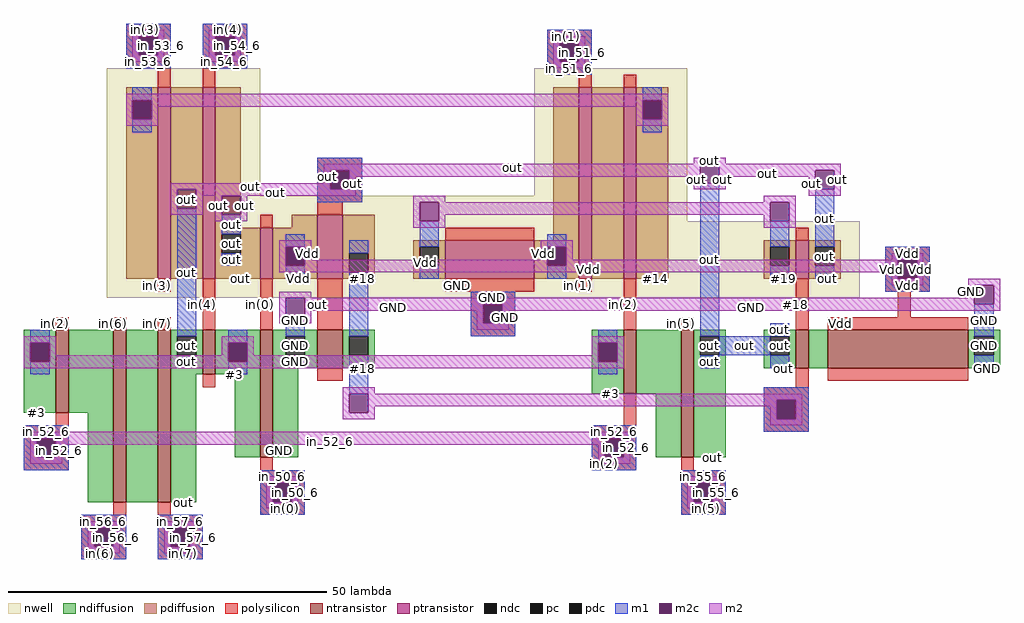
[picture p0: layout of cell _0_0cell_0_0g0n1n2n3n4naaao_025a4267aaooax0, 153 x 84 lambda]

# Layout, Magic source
magic
tech sky130l
<< nwell >>
rect 21 61 45 81
rect 88 61 112 81
rect 21 57 112 61
rect 21 45 139 57
<< ndiffusion >>
rect 8 38 13 40
rect 8 35 9 38
rect 12 35 13 38
rect 8 27 13 35
rect 15 27 22 40
rect 18 13 22 27
rect 24 13 29 40
rect 31 39 36 40
rect 31 36 32 39
rect 35 36 36 39
rect 31 33 36 36
rect 38 38 45 40
rect 38 35 40 38
rect 43 35 45 38
rect 38 33 45 35
rect 31 13 35 33
rect 41 20 45 33
rect 47 39 54 40
rect 47 36 49 39
rect 52 36 54 39
rect 47 34 54 36
rect 58 39 63 40
rect 58 36 59 39
rect 62 36 63 39
rect 58 34 63 36
rect 97 38 102 40
rect 97 35 98 38
rect 101 35 102 38
rect 47 20 51 34
rect 97 30 102 35
rect 104 30 111 40
rect 107 20 111 30
rect 113 39 118 40
rect 113 36 114 39
rect 117 36 118 39
rect 113 20 118 36
rect 124 39 129 40
rect 124 36 125 39
rect 128 36 129 39
rect 124 34 129 36
rect 131 34 134 40
rect 156 39 161 40
rect 156 36 157 39
rect 160 36 161 39
rect 156 34 161 36
<< ndc >>
rect 9 35 12 38
rect 32 36 35 39
rect 40 35 43 38
rect 49 36 52 39
rect 59 36 62 39
rect 98 35 101 38
rect 114 36 117 39
rect 125 36 128 39
rect 157 36 160 39
<< ntransistor >>
rect 13 27 15 40
rect 22 13 24 40
rect 29 13 31 40
rect 36 33 38 40
rect 45 20 47 40
rect 54 34 58 40
rect 102 30 104 40
rect 111 20 113 40
rect 129 34 131 40
rect 134 34 156 40
<< pdiffusion >>
rect 24 76 29 78
rect 24 73 25 76
rect 28 73 29 76
rect 24 48 29 73
rect 31 48 36 78
rect 38 56 42 78
rect 50 56 54 58
rect 38 55 45 56
rect 38 52 39 55
rect 42 52 45 55
rect 38 48 45 52
rect 47 53 54 56
rect 47 50 49 53
rect 52 50 54 53
rect 47 48 54 50
rect 58 52 63 58
rect 91 54 95 78
rect 58 49 59 52
rect 62 49 63 52
rect 58 48 63 49
rect 69 53 74 54
rect 69 50 70 53
rect 73 50 74 53
rect 69 48 74 50
rect 88 53 95 54
rect 88 50 90 53
rect 93 50 95 53
rect 88 48 95 50
rect 97 48 102 78
rect 104 76 109 78
rect 104 73 105 76
rect 108 73 109 76
rect 104 48 109 73
rect 124 53 129 54
rect 124 50 125 53
rect 128 50 129 53
rect 124 48 129 50
rect 131 53 136 54
rect 131 50 132 53
rect 135 50 136 53
rect 131 48 136 50
<< pdc >>
rect 25 73 28 76
rect 39 52 42 55
rect 49 50 52 53
rect 59 49 62 52
rect 70 50 73 53
rect 90 50 93 53
rect 105 73 108 76
rect 125 50 128 53
rect 132 50 135 53
<< ptransistor >>
rect 29 48 31 78
rect 36 48 38 78
rect 45 48 47 56
rect 54 48 58 58
rect 74 48 88 54
rect 95 48 97 78
rect 102 48 104 78
rect 129 48 131 54
<< polysilicon >>
rect 24 86 31 88
rect 24 83 26 86
rect 29 83 31 86
rect 24 81 31 83
rect 29 78 31 81
rect 36 86 43 88
rect 36 83 38 86
rect 41 83 43 86
rect 36 81 43 83
rect 90 85 97 87
rect 90 82 92 85
rect 95 82 97 85
rect 36 78 38 81
rect 90 80 97 82
rect 95 78 97 80
rect 102 78 104 80
rect 54 65 61 67
rect 54 62 56 65
rect 59 62 61 65
rect 54 60 61 62
rect 54 58 58 60
rect 45 56 47 58
rect 74 54 88 56
rect 129 54 131 56
rect 143 51 150 53
rect 143 48 145 51
rect 148 48 150 51
rect 29 46 31 48
rect 13 40 15 42
rect 22 40 24 42
rect 29 40 31 42
rect 36 40 38 48
rect 45 40 47 48
rect 54 40 58 48
rect 74 46 88 48
rect 95 46 97 48
rect 78 44 85 46
rect 78 41 80 44
rect 83 41 85 44
rect 13 25 15 27
rect 8 23 15 25
rect 8 20 10 23
rect 13 20 15 23
rect 8 18 15 20
rect 36 31 38 33
rect 78 39 85 41
rect 102 40 104 48
rect 111 40 113 42
rect 129 40 131 48
rect 143 46 150 48
rect 145 42 147 46
rect 134 40 156 42
rect 54 32 58 34
rect 102 25 104 30
rect 97 23 104 25
rect 97 20 99 23
rect 102 20 104 23
rect 129 31 131 34
rect 134 32 156 34
rect 124 29 131 31
rect 124 26 126 29
rect 129 26 131 29
rect 124 24 131 26
rect 45 18 47 20
rect 97 18 104 20
rect 111 18 113 20
rect 45 16 52 18
rect 45 13 47 16
rect 50 13 52 16
rect 22 11 24 13
rect 17 9 24 11
rect 17 6 19 9
rect 22 6 24 9
rect 17 4 24 6
rect 29 11 31 13
rect 45 11 52 13
rect 111 16 118 18
rect 111 13 113 16
rect 116 13 118 16
rect 111 11 118 13
rect 29 9 36 11
rect 29 6 31 9
rect 34 6 36 9
rect 29 4 36 6
<< pc >>
rect 26 83 29 86
rect 38 83 41 86
rect 92 82 95 85
rect 56 62 59 65
rect 145 48 148 51
rect 80 41 83 44
rect 10 20 13 23
rect 99 20 102 23
rect 126 26 129 29
rect 47 13 50 16
rect 19 6 22 9
rect 113 13 116 16
rect 31 6 34 9
<< m1 >>
rect 24 86 31 88
rect 24 83 26 86
rect 29 83 31 86
rect 24 81 31 83
rect 36 86 43 88
rect 36 83 38 86
rect 41 83 43 86
rect 36 81 43 83
rect 90 85 97 87
rect 90 82 92 85
rect 95 82 97 85
rect 90 80 97 82
rect 25 76 28 78
rect 25 71 28 73
rect 105 76 108 78
rect 105 71 108 73
rect 54 65 61 67
rect 54 62 56 65
rect 59 62 61 65
rect 9 38 12 40
rect 9 33 12 35
rect 32 39 35 59
rect 54 60 61 62
rect 39 55 42 58
rect 39 50 42 52
rect 49 53 52 55
rect 49 48 52 50
rect 59 52 62 54
rect 32 34 35 36
rect 40 38 43 40
rect 40 33 43 35
rect 49 39 52 42
rect 49 34 52 36
rect 59 39 62 49
rect 70 53 73 57
rect 70 48 73 50
rect 90 53 93 55
rect 90 48 93 50
rect 78 44 85 46
rect 78 41 80 44
rect 83 41 85 44
rect 78 39 85 41
rect 59 30 62 36
rect 98 38 101 40
rect 98 33 101 35
rect 114 39 117 63
rect 125 53 128 57
rect 125 48 128 50
rect 132 53 135 62
rect 132 48 135 50
rect 143 51 150 53
rect 143 48 145 51
rect 148 48 150 51
rect 143 46 150 48
rect 125 39 128 41
rect 117 36 125 39
rect 114 34 117 36
rect 125 34 128 36
rect 157 39 160 44
rect 157 34 160 36
rect 124 29 131 31
rect 124 26 126 29
rect 129 26 131 29
rect 8 23 15 25
rect 8 20 10 23
rect 13 20 15 23
rect 8 18 15 20
rect 97 23 104 25
rect 124 24 131 26
rect 97 20 99 23
rect 102 20 104 23
rect 97 18 104 20
rect 45 16 52 18
rect 45 13 47 16
rect 50 13 52 16
rect 45 11 52 13
rect 111 16 118 18
rect 111 13 113 16
rect 116 13 118 16
rect 111 11 118 13
rect 17 9 24 11
rect 17 6 19 9
rect 22 6 24 9
rect 17 4 24 6
rect 29 9 36 11
rect 29 6 31 9
rect 34 6 36 9
rect 29 4 36 6
<< m2c >>
rect 26 83 29 86
rect 38 83 41 86
rect 92 82 95 85
rect 25 73 28 76
rect 105 73 108 76
rect 56 62 59 65
rect 32 59 35 62
rect 9 35 12 38
rect 39 58 42 61
rect 114 63 117 66
rect 70 57 73 60
rect 49 50 52 53
rect 49 42 52 45
rect 40 35 43 38
rect 90 50 93 53
rect 80 41 83 44
rect 98 35 101 38
rect 132 62 135 65
rect 125 57 128 60
rect 145 48 148 51
rect 157 44 160 47
rect 59 27 62 30
rect 126 26 129 29
rect 10 20 13 23
rect 99 20 102 23
rect 47 13 50 16
rect 113 13 116 16
rect 19 6 22 9
rect 31 6 34 9
<< m2 >>
rect 25 86 30 87
rect 25 83 26 86
rect 29 83 30 86
rect 25 82 30 83
rect 37 86 42 87
rect 37 83 38 86
rect 41 83 42 86
rect 37 82 42 83
rect 91 85 96 86
rect 91 82 92 85
rect 95 82 96 85
rect 91 81 96 82
rect 24 76 109 77
rect 24 73 25 76
rect 28 75 105 76
rect 28 73 29 75
rect 24 72 29 73
rect 104 73 105 75
rect 108 73 109 76
rect 104 72 109 73
rect 113 66 118 67
rect 55 65 114 66
rect 55 63 56 65
rect 31 62 56 63
rect 59 64 114 65
rect 59 62 60 64
rect 113 63 114 64
rect 117 65 136 66
rect 117 64 132 65
rect 117 63 118 64
rect 113 62 118 63
rect 131 62 132 64
rect 135 62 136 65
rect 31 59 32 62
rect 35 61 60 62
rect 131 61 136 62
rect 35 59 36 61
rect 31 58 36 59
rect 38 58 39 61
rect 42 58 43 61
rect 38 57 43 58
rect 69 60 74 61
rect 124 60 129 61
rect 69 57 70 60
rect 73 58 125 60
rect 73 57 74 58
rect 69 56 74 57
rect 124 57 125 58
rect 128 57 129 60
rect 124 56 129 57
rect 48 53 53 54
rect 48 50 49 53
rect 52 51 53 53
rect 89 53 94 54
rect 89 51 90 53
rect 52 50 90 51
rect 93 51 94 53
rect 144 51 149 52
rect 93 50 145 51
rect 48 49 145 50
rect 144 48 145 49
rect 148 48 149 51
rect 144 47 149 48
rect 156 47 161 48
rect 48 45 53 46
rect 156 45 157 47
rect 48 42 49 45
rect 52 44 157 45
rect 160 44 161 47
rect 52 43 80 44
rect 52 42 53 43
rect 48 41 53 42
rect 79 41 80 43
rect 83 43 161 44
rect 83 41 84 43
rect 79 40 84 41
rect 8 38 13 39
rect 8 35 9 38
rect 12 36 13 38
rect 39 38 44 39
rect 39 36 40 38
rect 12 35 40 36
rect 43 36 44 38
rect 97 38 102 39
rect 97 36 98 38
rect 43 35 98 36
rect 101 35 102 38
rect 8 34 102 35
rect 58 30 63 31
rect 58 27 59 30
rect 62 29 130 30
rect 62 28 126 29
rect 62 27 63 28
rect 58 26 63 27
rect 125 26 126 28
rect 129 26 130 29
rect 125 25 130 26
rect 9 23 103 24
rect 9 20 10 23
rect 13 22 99 23
rect 13 20 14 22
rect 9 19 14 20
rect 98 20 99 22
rect 102 20 103 23
rect 98 19 103 20
rect 46 16 51 17
rect 46 13 47 16
rect 50 13 51 16
rect 46 12 51 13
rect 112 16 117 17
rect 112 13 113 16
rect 116 13 117 16
rect 112 12 117 13
rect 18 9 23 10
rect 18 6 19 9
rect 22 6 23 9
rect 18 5 23 6
rect 30 9 35 10
rect 30 6 31 9
rect 34 6 35 9
rect 30 5 35 6
<< labels >>
flabel polysilicon 13 41 13 41 3 FreeSerif 8 0 0 0 in(2)
flabel polysilicon 22 41 22 41 3 FreeSerif 8 0 0 0 in(6)
flabel polysilicon 29 41 29 41 3 FreeSerif 8 0 0 0 in(7)
flabel polysilicon 29 47 29 47 3 FreeSerif 8 0 0 0 in(3)
flabel polysilicon 36 44 36 44 3 FreeSerif 8 0 0 0 in(4)
flabel polysilicon 45 44 45 44 3 FreeSerif 8 0 0 0 in(0)
flabel polysilicon 54 44 54 44 3 FreeSerif 8 0 0 0 out
flabel polysilicon 76 47 76 47 3 FreeSerif 8 0 0 0 GND
flabel polysilicon 95 47 95 47 3 FreeSerif 8 0 0 0 in(1)
flabel polysilicon 102 44 102 44 3 FreeSerif 8 0 0 0 in(2)
flabel polysilicon 111 41 111 41 3 FreeSerif 8 0 0 0 in(5)
flabel polysilicon 129 44 129 44 3 FreeSerif 8 0 0 0 #18
flabel polysilicon 136 41 136 41 3 FreeSerif 8 0 0 0 Vdd
flabel pdiffusion 27 48 27 48 1 FreeSerif 8 0 0 0 #14
flabel pdiffusion 42 48 42 48 1 FreeSerif 8 0 0 0 out
flabel pdiffusion 51 48 51 48 1 FreeSerif 8 0 0 0 Vdd
flabel pdiffusion 61 48 61 48 1 FreeSerif 8 0 0 0 #18
flabel pdiffusion 72 48 72 48 1 FreeSerif 8 0 0 0 #19
flabel pdiffusion 92 48 92 48 1 FreeSerif 8 0 0 0 Vdd
flabel pdiffusion 107 48 107 48 1 FreeSerif 8 0 0 0 #14
flabel pdiffusion 127 48 127 48 1 FreeSerif 8 0 0 0 #19
flabel pdiffusion 134 48 134 48 1 FreeSerif 8 0 0 0 out
flabel ndiffusion 127 34 127 34 1 FreeSerif 8 0 0 0 out
flabel ndiffusion 159 34 159 34 1 FreeSerif 8 0 0 0 GND
flabel ndiffusion 100 30 100 30 1 FreeSerif 8 0 0 0 #3
flabel ndiffusion 116 20 116 20 1 FreeSerif 8 0 0 0 out
flabel ndiffusion 61 34 61 34 1 FreeSerif 8 0 0 0 #18
flabel ndiffusion 48 21 48 21 3 FreeSerif 8 0 0 0 GND
flabel ndiffusion 41 33 41 33 1 FreeSerif 8 0 0 0 #3
flabel ndiffusion 33 13 33 13 1 FreeSerif 8 0 0 0 out
flabel ndiffusion 10 27 10 27 1 FreeSerif 8 0 0 0 #3
flabel m2 s 156 45 157 47 5 FreeSerif 8 0 0 0 GND
port 1 nsew ground input
flabel m2 s 148 48 149 51 1 FreeSerif 8 0 0 0 Vdd
port 2 nsew power input
flabel m2 33 5 33 5 5 FreeSerif 8 0 0 0 in(7)
port 3 s
flabel m2 20 5 20 5 5 FreeSerif 8 0 0 0 in(6)
port 4 s
flabel m2 115 12 115 12 5 FreeSerif 8 0 0 0 in(5)
port 5 s
flabel m2 40 87 40 87 1 FreeSerif 8 0 0 0 in(4)
port 6 n
flabel m2 27 87 27 87 1 FreeSerif 8 0 0 0 in(3)
port 7 n
flabel m2 99 19 99 19 5 FreeSerif 8 0 0 0 in(2)
port 8 s
flabel m2 93 86 93 86 1 FreeSerif 8 0 0 0 in(1)
port 9 n
flabel m2 s 135 62 136 65 1 FreeSerif 8 0 0 0 out
port 10 nsew signal output
flabel m2 49 12 49 12 5 FreeSerif 8 0 0 0 in(0)
port 11 s
rlabel m2 s 50 13 51 16 1 in_50_6
port 1 nsew signal input
rlabel m2 s 47 13 50 16 1 in_50_6
port 1 nsew signal input
rlabel m2 s 46 12 51 13 1 in_50_6
port 1 nsew signal input
rlabel m2 s 46 13 47 16 1 in_50_6
port 1 nsew signal input
rlabel m2 s 46 16 51 17 1 in_50_6
port 1 nsew signal input
rlabel m1 s 50 13 52 16 1 in_50_6
port 1 nsew signal input
rlabel m1 s 47 13 50 16 1 in_50_6
port 1 nsew signal input
rlabel m1 s 45 11 52 13 1 in_50_6
port 1 nsew signal input
rlabel m1 s 45 13 47 16 1 in_50_6
port 1 nsew signal input
rlabel m1 s 45 16 52 18 1 in_50_6
port 1 nsew signal input
rlabel m2 s 91 85 96 86 5 in_51_6
port 2 nsew signal input
rlabel m2 s 95 82 96 85 5 in_51_6
port 2 nsew signal input
rlabel m2 s 92 82 95 85 5 in_51_6
port 2 nsew signal input
rlabel m2 s 91 82 92 85 5 in_51_6
port 2 nsew signal input
rlabel m2 s 91 81 96 82 1 in_51_6
port 2 nsew signal input
rlabel m1 s 95 82 97 85 5 in_51_6
port 2 nsew signal input
rlabel m1 s 92 82 95 85 5 in_51_6
port 2 nsew signal input
rlabel m1 s 90 80 97 82 1 in_51_6
port 2 nsew signal input
rlabel m1 s 90 82 92 85 5 in_51_6
port 2 nsew signal input
rlabel m1 s 90 85 97 87 5 in_51_6
port 2 nsew signal input
rlabel m2 s 102 20 103 23 1 in_52_6
port 3 nsew signal input
rlabel m2 s 99 20 102 23 1 in_52_6
port 3 nsew signal input
rlabel m2 s 98 19 103 20 1 in_52_6
port 3 nsew signal input
rlabel m2 s 98 20 99 22 1 in_52_6
port 3 nsew signal input
rlabel m2 s 13 20 14 22 3 in_52_6
port 3 nsew signal input
rlabel m2 s 13 22 99 23 1 in_52_6
port 3 nsew signal input
rlabel m2 s 10 20 13 23 3 in_52_6
port 3 nsew signal input
rlabel m2 s 9 19 14 20 3 in_52_6
port 3 nsew signal input
rlabel m2 s 9 20 10 23 3 in_52_6
port 3 nsew signal input
rlabel m2 s 9 23 103 24 1 in_52_6
port 3 nsew signal input
rlabel m1 s 97 18 104 20 1 in_52_6
port 3 nsew signal input
rlabel m1 s 102 20 104 23 1 in_52_6
port 3 nsew signal input
rlabel m1 s 99 20 102 23 1 in_52_6
port 3 nsew signal input
rlabel m1 s 97 20 99 23 1 in_52_6
port 3 nsew signal input
rlabel m1 s 97 23 104 25 1 in_52_6
port 3 nsew signal input
rlabel m1 s 13 20 15 23 1 in_52_6
port 3 nsew signal input
rlabel m1 s 10 20 13 23 3 in_52_6
port 3 nsew signal input
rlabel m1 s 8 18 15 20 3 in_52_6
port 3 nsew signal input
rlabel m1 s 8 20 10 23 3 in_52_6
port 3 nsew signal input
rlabel m1 s 8 23 15 25 3 in_52_6
port 3 nsew signal input
rlabel m2 s 29 83 30 86 5 in_53_6
port 4 nsew signal input
rlabel m2 s 26 83 29 86 5 in_53_6
port 4 nsew signal input
rlabel m2 s 25 82 30 83 1 in_53_6
port 4 nsew signal input
rlabel m2 s 25 83 26 86 5 in_53_6
port 4 nsew signal input
rlabel m2 s 25 86 30 87 5 in_53_6
port 4 nsew signal input
rlabel m1 s 29 83 31 86 5 in_53_6
port 4 nsew signal input
rlabel m1 s 26 83 29 86 5 in_53_6
port 4 nsew signal input
rlabel m1 s 24 81 31 83 1 in_53_6
port 4 nsew signal input
rlabel m1 s 24 83 26 86 5 in_53_6
port 4 nsew signal input
rlabel m1 s 24 86 31 88 5 in_53_6
port 4 nsew signal input
rlabel m2 s 41 83 42 86 5 in_54_6
port 5 nsew signal input
rlabel m2 s 38 83 41 86 5 in_54_6
port 5 nsew signal input
rlabel m2 s 37 83 38 86 5 in_54_6
port 5 nsew signal input
rlabel m2 s 37 82 42 83 1 in_54_6
port 5 nsew signal input
rlabel m2 s 37 86 42 87 5 in_54_6
port 5 nsew signal input
rlabel m1 s 41 83 43 86 5 in_54_6
port 5 nsew signal input
rlabel m1 s 38 83 41 86 5 in_54_6
port 5 nsew signal input
rlabel m1 s 36 81 43 83 1 in_54_6
port 5 nsew signal input
rlabel m1 s 36 83 38 86 5 in_54_6
port 5 nsew signal input
rlabel m1 s 36 86 43 88 5 in_54_6
port 5 nsew signal input
rlabel m2 s 116 13 117 16 1 in_55_6
port 6 nsew signal input
rlabel m2 s 113 13 116 16 1 in_55_6
port 6 nsew signal input
rlabel m2 s 112 12 117 13 1 in_55_6
port 6 nsew signal input
rlabel m2 s 112 13 113 16 1 in_55_6
port 6 nsew signal input
rlabel m2 s 112 16 117 17 1 in_55_6
port 6 nsew signal input
rlabel m1 s 116 13 118 16 1 in_55_6
port 6 nsew signal input
rlabel m1 s 113 13 116 16 1 in_55_6
port 6 nsew signal input
rlabel m1 s 111 13 113 16 1 in_55_6
port 6 nsew signal input
rlabel m1 s 111 16 118 18 1 in_55_6
port 6 nsew signal input
rlabel m1 s 111 11 118 13 1 in_55_6
port 6 nsew signal input
rlabel m2 s 22 6 23 9 1 in_56_6
port 7 nsew signal input
rlabel m2 s 19 6 22 9 1 in_56_6
port 7 nsew signal input
rlabel m2 s 18 5 23 6 1 in_56_6
port 7 nsew signal input
rlabel m2 s 18 6 19 9 1 in_56_6
port 7 nsew signal input
rlabel m2 s 18 9 23 10 1 in_56_6
port 7 nsew signal input
rlabel m1 s 22 6 24 9 1 in_56_6
port 7 nsew signal input
rlabel m1 s 19 6 22 9 1 in_56_6
port 7 nsew signal input
rlabel m1 s 17 4 24 6 1 in_56_6
port 7 nsew signal input
rlabel m1 s 17 6 19 9 1 in_56_6
port 7 nsew signal input
rlabel m1 s 17 9 24 11 1 in_56_6
port 7 nsew signal input
rlabel m2 s 34 6 35 9 1 in_57_6
port 8 nsew signal input
rlabel m2 s 31 6 34 9 1 in_57_6
port 8 nsew signal input
rlabel m2 s 30 5 35 6 1 in_57_6
port 8 nsew signal input
rlabel m2 s 30 6 31 9 1 in_57_6
port 8 nsew signal input
rlabel m2 s 30 9 35 10 1 in_57_6
port 8 nsew signal input
rlabel m1 s 34 6 36 9 1 in_57_6
port 8 nsew signal input
rlabel m1 s 31 6 34 9 1 in_57_6
port 8 nsew signal input
rlabel m1 s 29 6 31 9 1 in_57_6
port 8 nsew signal input
rlabel m1 s 29 4 36 6 1 in_57_6
port 8 nsew signal input
rlabel m1 s 29 9 36 11 1 in_57_6
port 8 nsew signal input
rlabel m2 s 132 62 135 65 1 out
port 10 nsew signal output
rlabel m2 s 131 61 136 62 1 out
port 10 nsew signal output
rlabel m2 s 131 62 132 64 1 out
port 10 nsew signal output
rlabel m2 s 117 63 118 64 1 out
port 10 nsew signal output
rlabel m2 s 117 64 132 65 1 out
port 10 nsew signal output
rlabel m2 s 117 65 136 66 1 out
port 10 nsew signal output
rlabel m2 s 114 63 117 66 1 out
port 10 nsew signal output
rlabel m2 s 113 62 118 63 1 out
port 10 nsew signal output
rlabel m2 s 113 63 114 64 1 out
port 10 nsew signal output
rlabel m2 s 113 66 118 67 1 out
port 10 nsew signal output
rlabel m2 s 55 63 56 65 1 out
port 10 nsew signal output
rlabel m2 s 55 65 114 66 1 out
port 10 nsew signal output
rlabel m2 s 42 58 43 61 1 out
port 10 nsew signal output
rlabel m2 s 38 57 43 58 1 out
port 10 nsew signal output
rlabel m2 s 39 58 42 61 1 out
port 10 nsew signal output
rlabel m2 s 38 58 39 61 1 out
port 10 nsew signal output
rlabel m2 s 35 59 36 61 1 out
port 10 nsew signal output
rlabel m2 s 35 61 60 62 1 out
port 10 nsew signal output
rlabel m2 s 59 62 60 64 1 out
port 10 nsew signal output
rlabel m2 s 59 64 114 65 1 out
port 10 nsew signal output
rlabel m2 s 32 59 35 62 1 out
port 10 nsew signal output
rlabel m2 s 56 62 59 65 1 out
port 10 nsew signal output
rlabel m2 s 31 58 36 59 1 out
port 10 nsew signal output
rlabel m2 s 31 59 32 62 1 out
port 10 nsew signal output
rlabel m2 s 31 62 56 63 1 out
port 10 nsew signal output
rlabel m1 s 132 48 135 50 1 out
port 10 nsew signal output
rlabel m1 s 132 50 135 53 1 out
port 10 nsew signal output
rlabel m1 s 132 53 135 62 1 out
port 10 nsew signal output
rlabel m1 s 132 62 135 65 1 out
port 10 nsew signal output
rlabel m1 s 125 36 128 39 1 out
port 10 nsew signal output
rlabel m1 s 125 39 128 41 1 out
port 10 nsew signal output
rlabel m1 s 117 36 125 39 1 out
port 10 nsew signal output
rlabel m1 s 125 34 128 36 1 out
port 10 nsew signal output
rlabel m1 s 114 36 117 39 1 out
port 10 nsew signal output
rlabel m1 s 114 39 117 63 1 out
port 10 nsew signal output
rlabel m1 s 114 63 117 66 1 out
port 10 nsew signal output
rlabel m1 s 59 62 61 65 1 out
port 10 nsew signal output
rlabel m1 s 114 34 117 36 1 out
port 10 nsew signal output
rlabel m1 s 56 62 59 65 1 out
port 10 nsew signal output
rlabel m1 s 39 50 42 52 1 out
port 10 nsew signal output
rlabel m1 s 39 52 42 55 1 out
port 10 nsew signal output
rlabel m1 s 39 55 42 58 1 out
port 10 nsew signal output
rlabel m1 s 39 58 42 61 1 out
port 10 nsew signal output
rlabel m1 s 54 60 61 62 1 out
port 10 nsew signal output
rlabel m1 s 54 62 56 65 1 out
port 10 nsew signal output
rlabel m1 s 54 65 61 67 1 out
port 10 nsew signal output
rlabel m1 s 32 36 35 39 1 out
port 10 nsew signal output
rlabel m1 s 32 39 35 59 1 out
port 10 nsew signal output
rlabel m1 s 32 59 35 62 1 out
port 10 nsew signal output
rlabel m1 s 32 34 35 36 1 out
port 10 nsew signal output
rlabel m2 s 145 48 148 51 1 Vdd
port 2 nsew power input
rlabel m2 s 144 47 149 48 1 Vdd
port 2 nsew power input
rlabel m2 s 144 48 145 49 1 Vdd
port 2 nsew power input
rlabel m2 s 144 51 149 52 1 Vdd
port 2 nsew power input
rlabel m2 s 89 51 90 53 1 Vdd
port 2 nsew power input
rlabel m2 s 89 53 94 54 1 Vdd
port 2 nsew power input
rlabel m2 s 93 50 145 51 1 Vdd
port 2 nsew power input
rlabel m2 s 93 51 94 53 1 Vdd
port 2 nsew power input
rlabel m2 s 90 50 93 53 1 Vdd
port 2 nsew power input
rlabel m2 s 52 50 90 51 1 Vdd
port 2 nsew power input
rlabel m2 s 52 51 53 53 1 Vdd
port 2 nsew power input
rlabel m2 s 49 50 52 53 1 Vdd
port 2 nsew power input
rlabel m2 s 48 49 145 50 1 Vdd
port 2 nsew power input
rlabel m2 s 48 50 49 53 1 Vdd
port 2 nsew power input
rlabel m2 s 48 53 53 54 1 Vdd
port 2 nsew power input
rlabel m1 s 148 48 150 51 1 Vdd
port 2 nsew power input
rlabel m1 s 145 48 148 51 1 Vdd
port 2 nsew power input
rlabel m1 s 143 48 145 51 1 Vdd
port 2 nsew power input
rlabel m1 s 143 51 150 53 1 Vdd
port 2 nsew power input
rlabel m1 s 143 46 150 48 1 Vdd
port 2 nsew power input
rlabel m1 s 90 48 93 50 1 Vdd
port 2 nsew power input
rlabel m1 s 90 50 93 53 1 Vdd
port 2 nsew power input
rlabel m1 s 90 53 93 55 1 Vdd
port 2 nsew power input
rlabel m1 s 49 48 52 50 1 Vdd
port 2 nsew power input
rlabel m1 s 49 50 52 53 1 Vdd
port 2 nsew power input
rlabel m1 s 49 53 52 55 1 Vdd
port 2 nsew power input
rlabel m2 s 156 47 161 48 7 GND
port 1 nsew ground input
rlabel m2 s 160 44 161 47 7 GND
port 1 nsew ground input
rlabel m2 s 83 41 84 43 1 GND
port 1 nsew ground input
rlabel m2 s 83 43 161 44 1 GND
port 1 nsew ground input
rlabel m2 s 157 44 160 47 7 GND
port 1 nsew ground input
rlabel m2 s 80 41 83 44 1 GND
port 1 nsew ground input
rlabel m2 s 52 42 53 43 1 GND
port 1 nsew ground input
rlabel m2 s 52 43 80 44 1 GND
port 1 nsew ground input
rlabel m2 s 52 44 157 45 1 GND
port 1 nsew ground input
rlabel m2 s 79 40 84 41 1 GND
port 1 nsew ground input
rlabel m2 s 79 41 80 43 1 GND
port 1 nsew ground input
rlabel m2 s 49 42 52 45 1 GND
port 1 nsew ground input
rlabel m2 s 48 41 53 42 1 GND
port 1 nsew ground input
rlabel m2 s 48 42 49 45 1 GND
port 1 nsew ground input
rlabel m2 s 48 45 53 46 1 GND
port 1 nsew ground input
rlabel m1 s 157 36 160 39 7 GND
port 1 nsew ground input
rlabel m1 s 157 39 160 44 7 GND
port 1 nsew ground input
rlabel m1 s 157 44 160 47 7 GND
port 1 nsew ground input
rlabel m1 s 83 41 85 44 1 GND
port 1 nsew ground input
rlabel m1 s 157 34 160 36 7 GND
port 1 nsew ground input
rlabel m1 s 80 41 83 44 1 GND
port 1 nsew ground input
rlabel m1 s 78 39 85 41 1 GND
port 1 nsew ground input
rlabel m1 s 78 41 80 44 1 GND
port 1 nsew ground input
rlabel m1 s 78 44 85 46 1 GND
port 1 nsew ground input
rlabel m1 s 49 34 52 36 1 GND
port 1 nsew ground input
rlabel m1 s 49 36 52 39 1 GND
port 1 nsew ground input
rlabel m1 s 49 39 52 42 1 GND
port 1 nsew ground input
rlabel m1 s 49 42 52 45 1 GND
port 1 nsew ground input
<< properties >>
string FIXED_BBOX 0 0 168 92
string LEFclass CORE
string LEFsite CoreSite
string LEFsymmetry X Y
<< end >>
